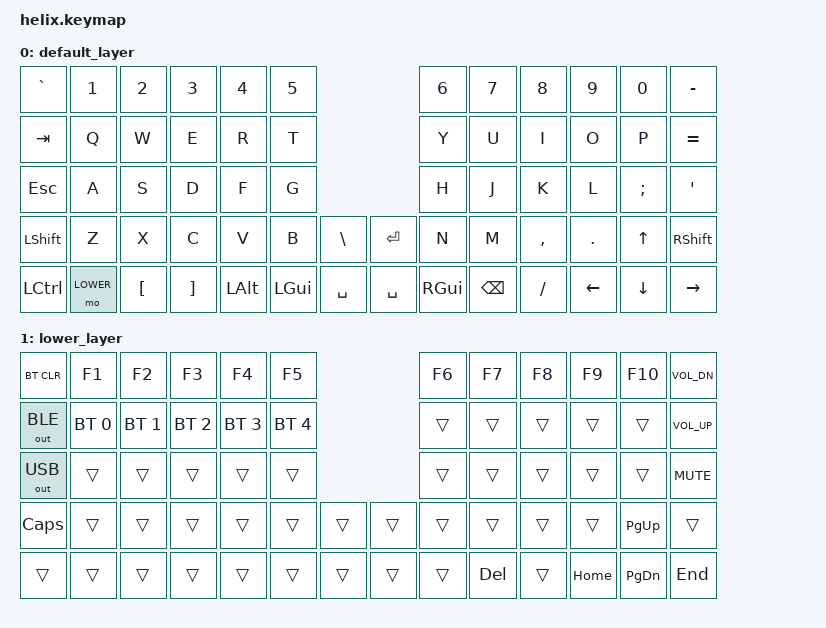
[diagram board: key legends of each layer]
/*
 * Copyright (c) 2020 The ZMK Contributors
 *
 * SPDX-License-Identifier: MIT
 */

 #include <behaviors.dtsi>
 #include <dt-bindings/zmk/keys.h>
 #include <dt-bindings/zmk/bt.h>
 #include <dt-bindings/zmk/rgb.h>
 #include <dt-bindings/zmk/ext_power.h>
 #include <dt-bindings/zmk/outputs.h>



 #define DEFAULT 0
 #define LOWER  1
 
/ {
       keymap {
              compatible = "zmk,keymap";

              default_layer {
 // ---------------------------------------------------------------------------------------------------------------------------------
 //   |  GRAVE  |    1    |    2    |   3    |    4    |    5    |                          |    6    |    7    |    8    |    9     |    0    |    -    |
 //   |  TAB    |    Q    |    W    |   E    |    R    |    T    |                          |    Y    |    U    |    I    |    O     |    P    |    =    |
 //   |  ESC    |    A    |    S    |   D    |    F    |    G    |                          |    H    |    J    |    K    |    L     |    ;    |    '    |
 //   |  SHIFT  |    Z    |    X    |   C    |    V    |    B    |BK SLASH|       |  ENTER  |    N    |    M    |    ,    |    .     |    UP   |  SHIFT  |
 //   |  CTRL   |  LOWER  |   LBKT  |  RBKT  |   ALT   |   CMD   |  SPACE |       |  SPACE  |   CMD   | BK SPACE|    /    |   LEFT   |   DOWN  |  RIGHT  |
                     bindings = <
       &kp GRAVE &kp N1    &kp N2    &kp N3   &kp N4    &kp N5                               &kp N6    &kp N7    &kp N8    &kp N9     &kp N0    &kp MINUS
       &kp TAB   &kp Q     &kp W     &kp E    &kp R     &kp T                                &kp Y     &kp U     &kp I     &kp O      &kp P     &kp EQUAL
       &kp ESC   &kp A     &kp S     &kp D    &kp F     &kp G                                &kp H     &kp J     &kp K     &kp L      &kp SEMI  &kp SQT
       &kp LSHFT &kp Z     &kp X     &kp C    &kp V     &kp B     &kp BSLH         &kp ENTER &kp N     &kp M     &kp COMMA &kp PERIOD &kp UP    &kp RSHFT
       &kp LCTRL &mo LOWER &kp LBKT  &kp RBKT &kp LALT  &kp LGUI  &kp SPACE        &kp SPACE &kp RGUI  &kp BSPC  &kp SLASH &kp LEFT   &kp DOWN  &kp RIGHT
                     >;
              };
              lower_layer {
 // ---------------------------------------------------------------------------------------------------------------------------------
 // |    BT CLR    |     F1     |      F2    |     F3     |      F4    |     F5   |                       |    F6   |    F7   |    F8   |    F9    |    F10   |   VOL-    |
 // |    OUT BLE   |   BT SEL0  |   BT SEL1  |  BT SEL2   |   BT SEL3  |  BT SEL4 |                       |         |         |         |          |          |   VOL+    |
 // |    OUT USB   |            |            |            |            |          |                       |         |         |         |          |          |   MUTE    |
 // |     CAPS     |            |            |            |            |          |      |       |        |         |         |         |          |  PG UP   |           |
 // |              |            |            |            |            |          |      |       |        |         |   DEL   |         |   HOME   |  PG DN   |    END    |
                     bindings = <
       &bt BT_CLR   &kp F1       &kp F2       &kp F3       &kp F4       &kp F5                             &kp F6    &kp F7    &kp F8    &kp F9     &kp F10    &kp C_VOL_DN
       &out OUT_BLE &bt BT_SEL 0 &bt BT_SEL 1 &bt BT_SEL 2 &bt BT_SEL 3 &bt BT_SEL 4                       &trans    &trans    &trans    &trans     &trans     &kp C_VOL_UP
       &out OUT_USB &trans       &trans       &trans       &trans       &trans                             &trans    &trans    &trans    &trans     &trans     &kp K_MUTE
       &kp CAPS     &trans       &trans       &trans       &trans       &trans    &trans          &trans   &trans    &trans    &trans    &trans     &kp PG_UP  &trans
       &trans       &trans       &trans       &trans       &trans       &trans    &trans          &trans   &trans    &kp DEL   &trans    &kp HOME   &kp PG_DN  &kp END
                     >;
              };
       };
};
